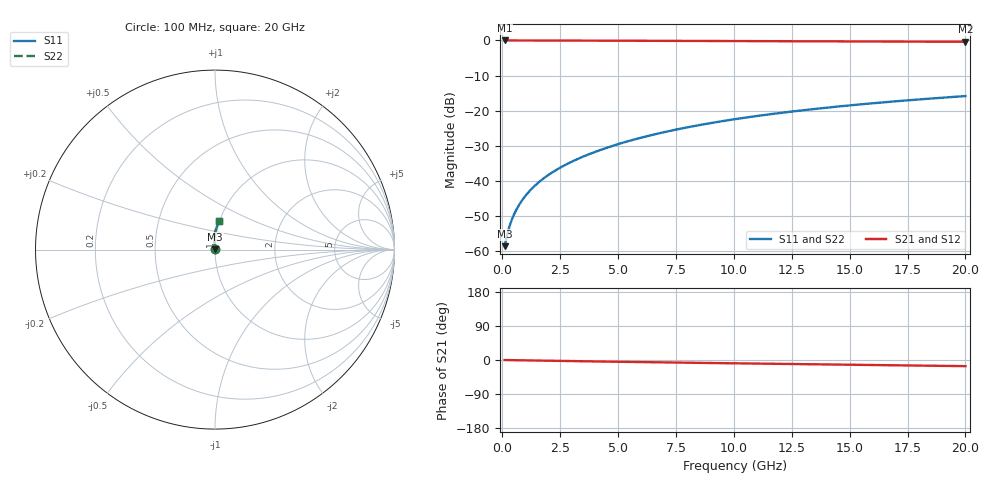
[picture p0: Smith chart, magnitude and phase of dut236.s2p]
! Touchstone file exported from HFSS 2024.1.0
!  File:  C:/UserFiles/LocalFiles/RDL_TSV_Batchsim/temp_RDL_bottom_236_1778701056.aedt
!  Generated:  03:40:06 AM May 14, 2026
!  Design:  RDL_bottom
!  Project:  temp_RDL_bottom_236_1778701056
!  Setup:  Setup1
!  Solution:  Sweep
! Variables:
!  dtsv = 10.80580581um
!  hbump = 3um
!  htsv = 63.25um
!  ldown = 208.28um
!  lrdl = 100um
!  p = 40
!  p1 = 54.25um
!  rhole = 1um
!  t = 450um
!  tdown = 3.55um
!  trdl = 3.915915916um
!  wdown = 29.37um
!  wrdl = 20um
# GHz S MA R 50.000000
! Terminal data exported
! Port[1] = RDL1_T1
! Port[2] = RDL1_T2
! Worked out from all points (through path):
!   200 points, 100 MHz to 20 GHz, reference 50 ohm
!   highest |S21| = -0.01 dB at 100 MHz (marker M1); lowest = -0.4 dB at 20 GHz (marker M2)
!   group delay of S21, straight-line fit = 2.21 ps
!   lowest |S11| = -58.5 dB at 100 MHz (marker M3), VSWR 1.00, Z = 50.1 + j0.0689 ohm
!   |S11| at or under -10 dB: start of sweep to end of sweep
!   |S22| runs from -58.5 to -15.8 dB; largest |S21 - S12| = 3.1e-15
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0.1  0.001184 35.5  0.999 -0.1  0.999 -0.1  0.001184 35.5
! Gamma 0 0 0 0
! Port Impedance 50 0 50 0
0.2  0.001679 52.6  0.999 -0.2  0.999 -0.2  0.001679 52.6
0.3  0.002215 61.2  0.9989 -0.3  0.9989 -0.3  0.002215 61.2
0.4  0.002758 66.6  0.9988 -0.4  0.9988 -0.4  0.002758 66.6
0.5  0.003307 70.5  0.9987 -0.5  0.9987 -0.5  0.003307 70.5
0.6  0.003864 73.5  0.9986 -0.6  0.9986 -0.6  0.003864 73.5
0.8  0.004999 77.8  0.9985 -0.8  0.9985 -0.8  0.004999 77.8
1.1  0.006748 81.9  0.9982 -1.1  0.9982 -1.1  0.006748 81.9
1.3  0.00794 83.8  0.998 -1.3  0.998 -1.3  0.00794 83.8
1.6  0.009763 86.0  0.9977 -1.6  0.9977 -1.6  0.009763 86.0
2.1  0.01289 88.6  0.997 -2.0  0.997 -2.0  0.01289 88.6
2.7  0.01681 90.7  0.9959 -2.6  0.9959 -2.6  0.01681 90.7
3.5  0.02231 92.5  0.9942 -3.3  0.9942 -3.3  0.02231 92.5
4.2  0.02738 93.4  0.9925 -4.0  0.9925 -4.0  0.02738 93.4
5  0.03346 94.0  0.9905 -4.7  0.9905 -4.7  0.03346 94.0
5.9  0.04059 94.1  0.9881 -5.4  0.9881 -5.4  0.04059 94.1
6.8  0.04798 93.9  0.9857 -6.2  0.9857 -6.2  0.04798 93.9
8.4  0.06156 92.9  0.9816 -7.5  0.9816 -7.5  0.06156 92.9
10.1  0.07632 91.4  0.9774 -8.8  0.9774 -8.8  0.07632 91.4
13.4  0.1052 88.0  0.9701 -11.3  0.9701 -11.3  0.1052 88.0
16.7  0.1337 84.6  0.9633 -13.8  0.9633 -13.8  0.1337 84.6
20  0.1616 81.3  0.9566 -16.2  0.9566 -16.2  0.1616 81.3
